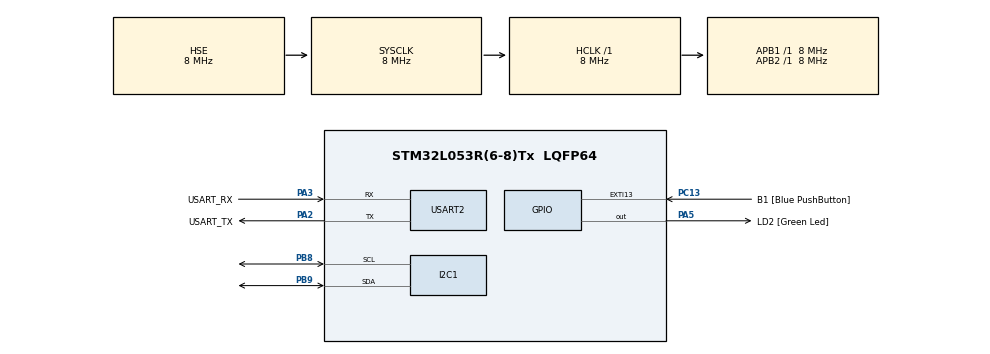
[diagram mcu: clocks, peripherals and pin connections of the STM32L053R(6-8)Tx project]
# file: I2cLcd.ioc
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I2C1.Timing=0x2000090E
Mcu.Family=STM32L0
Mcu.Name=STM32L053R(6-8)Tx
Mcu.Package=LQFP64
PA13.GPIO_Label=TMS
PA13.Mode=Serial_Wire
PA13.Signal=SYS_SWDIO
PA14.GPIO_Label=TCK
PA14.Mode=Serial_Wire
PA14.Signal=SYS_SWCLK
PA2.GPIO_Label=USART_TX
PA2.Mode=Asynchronous
PA2.Signal=USART2_TX
PA3.GPIO_Label=USART_RX
PA3.Mode=Asynchronous
PA3.Signal=USART2_RX
PA5.GPIO_Label=LD2 [Green Led]
PA5.Signal=GPIO_Output
PB8.Mode=I2C
PB8.Signal=I2C1_SCL
PB9.Mode=I2C
PB9.Signal=I2C1_SDA
PC13.GPIO_Label=B1 [Blue PushButton]
PC13.GPIO_ModeDefaultEXTI=GPIO_MODE_IT_FALLING
PC13.Signal=GPXTI13
PC14-OSC32_IN.Mode=LSE-External-Oscillator
PC14-OSC32_IN.Signal=RCC_OSC32_IN
PC15-OSC32_OUT.Mode=LSE-External-Oscillator
PC15-OSC32_OUT.Signal=RCC_OSC32_OUT
PH0-OSC_IN.Mode=HSE-External-Oscillator
PH0-OSC_IN.Signal=RCC_OSC_IN
PH1-OSC_OUT.Mode=HSE-External-Oscillator
PH1-OSC_OUT.Signal=RCC_OSC_OUT
ProjectManager.HeapSize=0x200
ProjectManager.StackSize=0x400
ProjectManager.TargetToolchain=STM32CubeIDE
RCC.AHBFreq_Value=8000000
RCC.APB1Freq_Value=8000000
RCC.APB1TimFreq_Value=8000000
RCC.APB2Freq_Value=8000000
RCC.APB2TimFreq_Value=8000000
RCC.HCLKFreq_Value=8000000
RCC.HSE_VALUE=8000000
RCC.HSI16_VALUE=16000000
RCC.HSI48_VALUE=48000000
RCC.HSI_VALUE=16000000
RCC.MSI_VALUE=2097000
RCC.SYSCLKFreq_VALUE=8000000
RCC.SYSCLKSource=RCC_SYSCLKSOURCE_HSE
RCC.VCOOutputFreq_Value=48000000
USART2.VirtualMode-Asynchronous=VM_ASYNC
board=NUCLEO-L053R8

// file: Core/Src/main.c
/* USER CODE BEGIN Header */
/**
  ******************************************************************************
  * @file           : main.c
  * @brief          : Main program body
  ******************************************************************************
  * @attention
  *
  * Copyright (c) 2023 STMicroelectronics.
  * All rights reserved.
  *
  * This software is licensed under terms that can be found in the LICENSE file
  * in the root directory of this software component.
  * If no LICENSE file comes with this software, it is provided AS-IS.
  *
  ******************************************************************************
  */
/* USER CODE END Header */
#include "main.h"
/* USER CODE BEGIN Includes */
#include "i2c_lcd.h"
/* USER CODE END Includes */

I2C_HandleTypeDef hi2c1;

UART_HandleTypeDef huart2;

void SystemClock_Config(void);
static void MX_GPIO_Init(void);
static void MX_I2C1_Init(void);
static void MX_USART2_UART_Init(void);

/* USER CODE BEGIN 0 */

int row=0;
int col=0;

/* USER CODE END 0 */

int main(void)
{

  /* MCU Configuration--------------------------------------------------------*/

  /* Reset of all peripherals, Initializes the Flash interface and the Systick. */
  HAL_Init();

  /* Configure the system clock */
  SystemClock_Config();

  /* Initialize all configured peripherals */
  MX_GPIO_Init();
  MX_I2C1_Init();
  MX_USART2_UART_Init();
  /* USER CODE BEGIN 2 */
  lcd_init();
  lcd_send_string("Hello World");
  HAL_Delay(1000);
  lcd_put_cur(1, 0);
  lcd_send_string("Zack Wang");
  HAL_Delay(2000);
  lcd_clear();
  /* USER CODE END 2 */

  /* Infinite loop */
  while (1)
  {

    /* USER CODE BEGIN 3 */
	for(int i = 0; i < 48; i++)
	{
	  lcd_put_cur(row, col);
	  lcd_send_data(i + 48);
	  col++;

	  if(col > 15)
	  {
		row++;
		col = 0;
	  }
	  if(row > 1)
	  {
		lcd_clear();
		row = 0;
	  }

	  HAL_Delay(150);
	}
  }
  /* USER CODE END 3 */
}

void SystemClock_Config(void)
{
  RCC_OscInitTypeDef RCC_OscInitStruct = {0};
  RCC_ClkInitTypeDef RCC_ClkInitStruct = {0};
  RCC_PeriphCLKInitTypeDef PeriphClkInit = {0};

  /** Configure the main internal regulator output voltage
  */
  __HAL_PWR_VOLTAGESCALING_CONFIG(PWR_REGULATOR_VOLTAGE_SCALE1);

  /** Initializes the RCC Oscillators according to the specified parameters
  * in the RCC_OscInitTypeDef structure.
  */
  RCC_OscInitStruct.OscillatorType = RCC_OSCILLATORTYPE_HSE;
  RCC_OscInitStruct.HSEState = RCC_HSE_ON;
  RCC_OscInitStruct.PLL.PLLState = RCC_PLL_NONE;
  if (HAL_RCC_OscConfig(&RCC_OscInitStruct) != HAL_OK)
  {
    Error_Handler();
  }

  /** Initializes the CPU, AHB and APB buses clocks
  */
  RCC_ClkInitStruct.ClockType = RCC_CLOCKTYPE_HCLK|RCC_CLOCKTYPE_SYSCLK
                              |RCC_CLOCKTYPE_PCLK1|RCC_CLOCKTYPE_PCLK2;
  RCC_ClkInitStruct.SYSCLKSource = RCC_SYSCLKSOURCE_HSE;
  RCC_ClkInitStruct.AHBCLKDivider = RCC_SYSCLK_DIV1;
  RCC_ClkInitStruct.APB1CLKDivider = RCC_HCLK_DIV1;
  RCC_ClkInitStruct.APB2CLKDivider = RCC_HCLK_DIV1;

  if (HAL_RCC_ClockConfig(&RCC_ClkInitStruct, FLASH_LATENCY_0) != HAL_OK)
  {
    Error_Handler();
  }
  PeriphClkInit.PeriphClockSelection = RCC_PERIPHCLK_USART2|RCC_PERIPHCLK_I2C1;
  PeriphClkInit.Usart2ClockSelection = RCC_USART2CLKSOURCE_PCLK1;
  PeriphClkInit.I2c1ClockSelection = RCC_I2C1CLKSOURCE_PCLK1;
  if (HAL_RCCEx_PeriphCLKConfig(&PeriphClkInit) != HAL_OK)
  {
    Error_Handler();
  }
}

static void MX_I2C1_Init(void)
{

  hi2c1.Instance = I2C1;
  hi2c1.Init.Timing = 0x2000090E;
  hi2c1.Init.OwnAddress1 = 0;
  hi2c1.Init.AddressingMode = I2C_ADDRESSINGMODE_7BIT;
  hi2c1.Init.DualAddressMode = I2C_DUALADDRESS_DISABLE;
  hi2c1.Init.OwnAddress2 = 0;
  hi2c1.Init.OwnAddress2Masks = I2C_OA2_NOMASK;
  hi2c1.Init.GeneralCallMode = I2C_GENERALCALL_DISABLE;
  hi2c1.Init.NoStretchMode = I2C_NOSTRETCH_DISABLE;
  if (HAL_I2C_Init(&hi2c1) != HAL_OK)
  {
    Error_Handler();
  }

  /** Configure Analogue filter
  */
  if (HAL_I2CEx_ConfigAnalogFilter(&hi2c1, I2C_ANALOGFILTER_ENABLE) != HAL_OK)
  {
    Error_Handler();
  }

  /** Configure Digital filter
  */
  if (HAL_I2CEx_ConfigDigitalFilter(&hi2c1, 0) != HAL_OK)
  {
    Error_Handler();
  }

}

static void MX_USART2_UART_Init(void)
{

  huart2.Instance = USART2;
  huart2.Init.BaudRate = 115200;
  huart2.Init.WordLength = UART_WORDLENGTH_8B;
  huart2.Init.StopBits = UART_STOPBITS_1;
  huart2.Init.Parity = UART_PARITY_NONE;
  huart2.Init.Mode = UART_MODE_TX_RX;
  huart2.Init.HwFlowCtl = UART_HWCONTROL_NONE;
  huart2.Init.OverSampling = UART_OVERSAMPLING_16;
  huart2.Init.OneBitSampling = UART_ONE_BIT_SAMPLE_DISABLE;
  huart2.AdvancedInit.AdvFeatureInit = UART_ADVFEATURE_NO_INIT;
  if (HAL_UART_Init(&huart2) != HAL_OK)
  {
    Error_Handler();
  }

}

static void MX_GPIO_Init(void)
{
  GPIO_InitTypeDef GPIO_InitStruct = {0};

  /* GPIO Ports Clock Enable */
  __HAL_RCC_GPIOC_CLK_ENABLE();
  __HAL_RCC_GPIOH_CLK_ENABLE();
  __HAL_RCC_GPIOA_CLK_ENABLE();
  __HAL_RCC_GPIOB_CLK_ENABLE();

  /*Configure GPIO pin Output Level */
  HAL_GPIO_WritePin(LD2_GPIO_Port, LD2_Pin, GPIO_PIN_RESET);

  /*Configure GPIO pin : B1_Pin */
  GPIO_InitStruct.Pin = B1_Pin;
  GPIO_InitStruct.Mode = GPIO_MODE_IT_FALLING;
  GPIO_InitStruct.Pull = GPIO_NOPULL;
  HAL_GPIO_Init(B1_GPIO_Port, &GPIO_InitStruct);

  /*Configure GPIO pin : LD2_Pin */
  GPIO_InitStruct.Pin = LD2_Pin;
  GPIO_InitStruct.Mode = GPIO_MODE_OUTPUT_PP;
  GPIO_InitStruct.Pull = GPIO_NOPULL;
  GPIO_InitStruct.Speed = GPIO_SPEED_FREQ_LOW;
  HAL_GPIO_Init(LD2_GPIO_Port, &GPIO_InitStruct);

}

void Error_Handler(void)
{
  __disable_irq();
  while (1)
  {
  }
}
